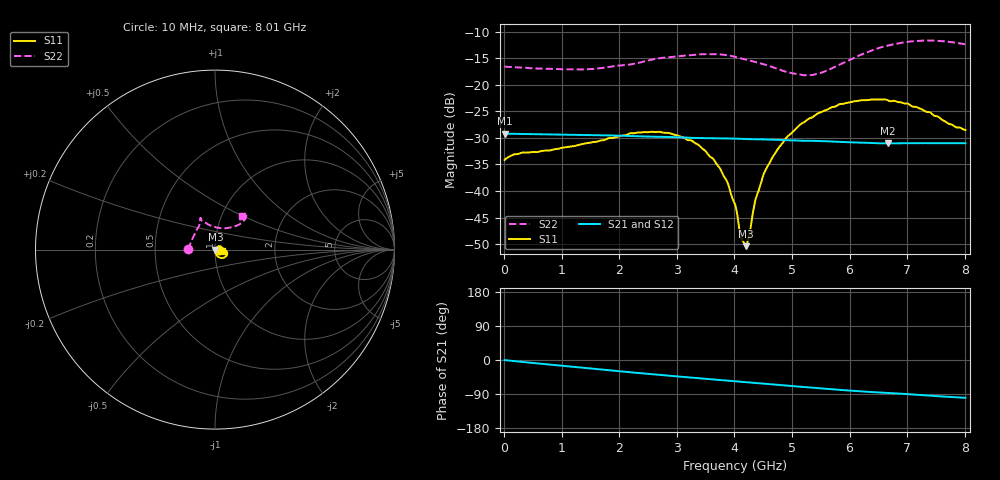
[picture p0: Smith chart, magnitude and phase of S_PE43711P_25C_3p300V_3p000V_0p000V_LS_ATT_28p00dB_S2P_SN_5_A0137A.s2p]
! Device ID: PE43711P
! File Path: z:\PE43711P\CHAR_NOM_04282014\AMB\3p300\LS_ATT_28p00dB\PE43711P_AMB_3p300V_3p000V_0p000V_LS_ATT_28p00dB_S2P_SN_5_A0137A.s2p
! Serial: 5
! Lot: A0137A
! Temp: 25C
! VDD: 3.300
! VSS: 0.000
! Control_Hi: 3.000
! Control_Lo: 0.000
! Attenuation Step: 28.00dB
! Port 1: RF1
! Port 2: RF2
! ThroughPath:1-2
! IDD: 0.000127545
! ISS: -1.42e-007
#  Hz  S  RI  R  50
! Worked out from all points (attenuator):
!   801 points, 10 MHz to 8.01 GHz, reference 50 ohm
!   highest |S21| = -29.22 dB at 20 MHz (marker M1); lowest = -31.1 dB at 6.66 GHz (marker M2)
!   lowest |S11| = -50.4 dB at 4.2 GHz (marker M3), VSWR 1.01, Z = 50.3 - j0.123 ohm
!   |S11| at or under -10 dB: start of sweep to end of sweep
!   |S22| runs from -18.2 to -11.7 dB; largest |S21 - S12| = 0.00011
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1e7  0.0196 0.000539  0.0346 -0.000131  0.0346 -0.000114  -0.1483 0.00103
2e7  0.0198 0.000747  0.0346 -0.00021  0.0346 -0.000205  -0.148 0.00169
3e8  0.0227 0.00303  0.0343 -0.00288  0.0344 -0.00287  -0.1445 0.014
1.35e9  0.0266 0.00713  0.0316 -0.0117  0.0317 -0.0117  -0.1204 0.0703
2.68e9  0.0319 0.0167  0.0252 -0.0203  0.0252 -0.0203  -0.0846 0.1561
3.25e9  0.0235 0.0184  0.0217 -0.023  0.0218 -0.023  -0.08 0.1724
3.49e9  0.0173 0.0167  0.0204 -0.0239  0.0204 -0.0239  -0.0808 0.1765
3.76e9  0.0102 0.0122  0.0189 -0.0249  0.0189 -0.025  -0.0811 0.1749
3.88e9  0.00751 0.00938  0.0181 -0.0254  0.0181 -0.0254  -0.0801 0.1715
4.01e9  0.00516 0.00541  0.0172 -0.0259  0.0172 -0.0259  -0.0775 0.1662
4.12e9  0.00337 0.00116  0.0165 -0.0262  0.0165 -0.0262  -0.0726 0.161
4.2e9  0.00276 -0.00122  0.016 -0.0264  0.016 -0.0264  -0.0684 0.1581
4.25e9  0.0022 -0.00298  0.0157 -0.0265  0.0157 -0.0265  -0.0655 0.1566
4.38e9  0.00171 -0.00864  0.0149 -0.0269  0.0148 -0.0269  -0.0581 0.1522
4.55e9  0.00273 -0.0159  0.0137 -0.0272  0.0137 -0.0273  -0.0472 0.1459
4.9e9  0.00868 -0.0305  0.0114 -0.0278  0.0114 -0.0279  -0.0179 0.131
5.35e9  0.0242 -0.0429  0.00865 -0.0283  0.00865 -0.0283  0.0319 0.1193
5.84e9  0.0473 -0.0458  0.00555 -0.0284  0.00551 -0.0284  0.0935 0.125
6.66e9  0.0679 -0.0221  0.00149 -0.028  0.00152 -0.028  0.1644 0.1659
6.68e9  0.0673 -0.0214  0.00142 -0.028  0.00151 -0.0281  0.1653 0.1673
7.31e9  0.0561 -0.00433  -0.00162 -0.0282  -0.00155 -0.0282  0.1714 0.1968
8.01e9  0.0368 -0.00642  -0.00475 -0.0277  -0.00484 -0.0278  0.1482 0.1884
